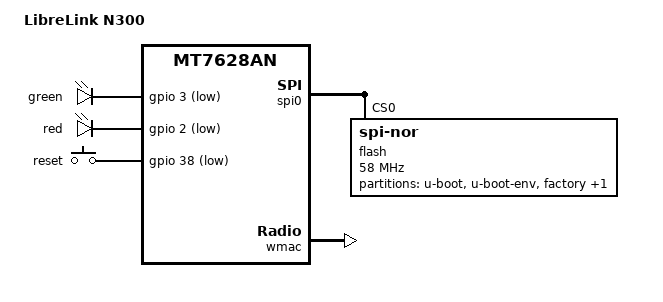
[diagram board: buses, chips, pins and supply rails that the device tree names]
// SPDX-License-Identifier: GPL-2.0-or-later OR MIT

#include "mt7628an.dtsi"

#include <dt-bindings/gpio/gpio.h>
#include <dt-bindings/input/input.h>

/ {
	compatible = "librelink,n300", "mediatek,mt7628an-soc";
	model = "LibreLink N300";

	aliases {
		label-mac-device = &ethernet;
		led-boot = &status_green;
		led-failsafe = &status_red;
		led-running = &status_green;
		led-upgrade = &status_red;
	};

	chosen {
		bootargs = "console=ttyS0,115200";
	};

	gpio-leds {
		compatible = "gpio-leds";

		status_green: status_green {
			label = "green";
			gpios = <&gpio 3 GPIO_ACTIVE_LOW>;
			default-state = "on";
			linux,default-trigger = "timer";
		};

		status_red: status_red {
			label = "red";
			gpios = <&gpio 2 GPIO_ACTIVE_LOW>;
			default-state = "on";
			linux,default-trigger = "timer";
		};
	};

	gpio-keys {
		compatible = "gpio-keys";

		reset {
			label = "reset";
			gpios = <&gpio 38 GPIO_ACTIVE_LOW>;
			linux,code = <KEY_RESTART>;
		};
	};
};

&spi0 {
	status = "okay";

	flash@0 {
		compatible = "jedec,spi-nor";
		reg = <0>;
		spi-max-frequency = <58000000>;
		m25p,fast-read;

		partitions {
			compatible = "fixed-partitions";
			#address-cells = <1>;
			#size-cells = <1>;

			partition@0 {
				label = "u-boot";
				reg = <0x0 0x30000>;
				read-only;
			};

			partition@30000 {
				label = "u-boot-env";
				reg = <0x30000 0x10000>;
				read-only;
			};

			partition@40000 {
				label = "factory";
				reg = <0x40000 0x10000>;
				read-only;

				nvmem-layout {
					compatible = "fixed-layout";
					#address-cells = <1>;
					#size-cells = <1>;

					eeprom_factory_0: eeprom@0 {
						reg = <0x0 0x400>;
					};

					eeprom_factory_8000: eeprom@8000 {
						reg = <0x8000 0x4da8>;
					};

					macaddr_factory_4: macaddr@4 {
						reg = <0x4 0x6>;
					};
				};
			};

			partition@50000 {
				compatible = "denx,uimage";
				label = "firmware";
				reg = <0x50000 0xfb0000>;
			};
		};
	};
};

&state_default {
	spis {
		groups = "spis";
		function = "spis";
	};

	gpio {
		groups = "refclk", "i2c", "wled_an", "i2s", "wdt";
		function = "gpio";
	};
};

&ethernet {
	nvmem-cells = <&macaddr_factory_4>;
	nvmem-cell-names = "mac-address";
};

&esw {
	mediatek,portmap = <0x2f>;
	mediatek,portdisable = <0x2d>;
};

&wmac {
	status = "okay";

	nvmem-cells = <&eeprom_factory_0>;
	nvmem-cell-names = "eeprom";
};

&usbphy {
	status = "disabled";
};

&ehci {
	status = "disabled";
};

&ohci {
	status = "disabled";
};
